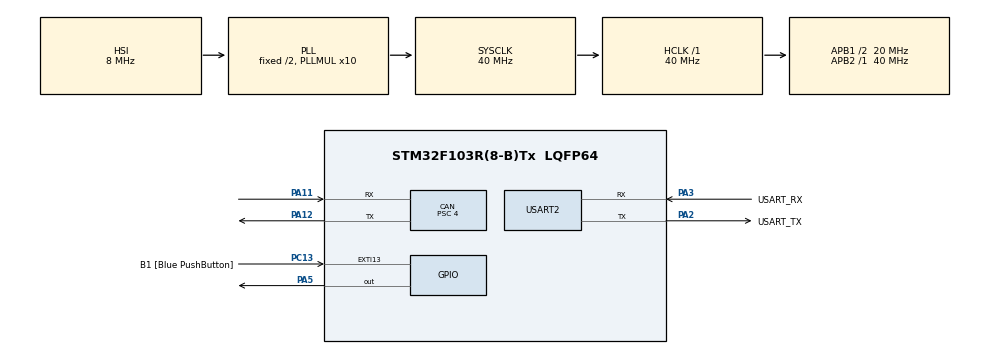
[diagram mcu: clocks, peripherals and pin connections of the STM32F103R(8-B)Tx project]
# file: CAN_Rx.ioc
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CAN.BS1=CAN_BS1_8TQ
CAN.CalculateBaudRate=500000
CAN.CalculateTimeBit=2000
CAN.CalculateTimeQuantum=200.0
CAN.NART=ENABLE
CAN.Prescaler=4
Mcu.Family=STM32F1
Mcu.Name=STM32F103R(8-B)Tx
Mcu.Package=LQFP64
NVIC.CAN1_RX1_IRQn=true\:0\:0\:false\:false\:true\:true\:true\:true
NVIC.EXTI15_10_IRQn=true\:0\:0\:false\:false\:true\:true\:true\:true
NVIC.PriorityGroup=NVIC_PRIORITYGROUP_4
NVIC.USB_HP_CAN1_TX_IRQn=true\:0\:0\:false\:false\:true\:true\:true\:true
NVIC.USB_LP_CAN1_RX0_IRQn=true\:0\:0\:false\:false\:true\:true\:true\:true
PA11.Mode=CAN_Activate
PA11.Signal=CAN_RX
PA12.Mode=CAN_Activate
PA12.Signal=CAN_TX
PA13.GPIO_Label=TMS
PA13.Mode=Serial_Wire
PA13.Signal=SYS_JTMS-SWDIO
PA14.GPIO_Label=TCK
PA14.Mode=Serial_Wire
PA14.Signal=SYS_JTCK-SWCLK
PA2.GPIO_Label=USART_TX
PA2.GPIO_Mode=GPIO_MODE_AF_PP
PA2.GPIO_PuPd=GPIO_NOPULL
PA2.GPIO_Speed=GPIO_SPEED_FREQ_LOW
PA2.Mode=Asynchronous
PA2.Signal=USART2_TX
PA3.GPIO_Label=USART_RX
PA3.GPIO_Mode=GPIO_MODE_AF_PP
PA3.GPIO_PuPd=GPIO_NOPULL
PA3.GPIO_Speed=GPIO_SPEED_FREQ_LOW
PA3.Mode=Asynchronous
PA3.Signal=USART2_RX
PA5.Signal=GPIO_Output
PB3.GPIO_Label=SWO
PB3.Signal=SYS_JTDO-TRACESWO
PC13-TAMPER-RTC.GPIO_Label=B1 [Blue PushButton]
PC13-TAMPER-RTC.GPIO_PuPd=GPIO_NOPULL
PC13-TAMPER-RTC.Signal=GPXTI13
PC14-OSC32_IN.Mode=LSE-External-Oscillator
PC14-OSC32_IN.Signal=RCC_OSC32_IN
PC15-OSC32_OUT.Mode=LSE-External-Oscillator
PC15-OSC32_OUT.Signal=RCC_OSC32_OUT
PD0-OSC_IN.Mode=HSE-External-Clock-Source
PD0-OSC_IN.Signal=RCC_OSC_IN
PD1-OSC_OUT.Mode=HSE-External-Clock-Source
PD1-OSC_OUT.Signal=RCC_OSC_OUT
ProjectManager.HeapSize=0x200
ProjectManager.StackSize=0x400
ProjectManager.TargetToolchain=STM32CubeIDE
RCC.AHBFreq_Value=40000000
RCC.APB1CLKDivider=RCC_HCLK_DIV2
RCC.APB1Freq_Value=20000000
RCC.APB1TimFreq_Value=40000000
RCC.APB2Freq_Value=40000000
RCC.APB2TimFreq_Value=40000000
RCC.HCLKFreq_Value=40000000
RCC.PLLMUL=RCC_PLL_MUL10
RCC.RTCClockSelection=RCC_RTCCLKSOURCE_LSE
RCC.SYSCLKFreq_VALUE=40000000
RCC.SYSCLKSource=RCC_SYSCLKSOURCE_PLLCLK
RCC.USBFreq_Value=40000000
USART2.VirtualMode=VM_ASYNC
board=NUCLEO-F103RB

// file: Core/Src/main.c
/* USER CODE BEGIN Header */
/**
  ******************************************************************************
  * @file           : main.c
  * @brief          : Main program body
  ******************************************************************************
  * @attention
  *
  * Copyright (c) 2024 STMicroelectronics.
  * All rights reserved.
  *
  * This software is licensed under terms that can be found in the LICENSE file
  * in the root directory of this software component.
  * If no LICENSE file comes with this software, it is provided AS-IS.
  *
  ******************************************************************************
  */
/* USER CODE END Header */
#include "main.h"
#include "can.h"
#include "usart.h"
#include "gpio.h"

/* USER CODE BEGIN Includes */
#include <stdio.h>
/* USER CODE END Includes */

/* USER CODE BEGIN PM */
#ifdef __GNUC__
  /* With GCC, small printf (option LD Linker->Libraries->Small printf
     set to 'Yes') calls __io_putchar() */
  #define PUTCHAR_PROTOTYPE int __io_putchar(int ch)
#else
  #define PUTCHARPROTOTYPE int fputc(int ch, FILE *f)
#endif /* __GNUC__ */
PUTCHAR_PROTOTYPE
{
  /* Place your implementation of fputc here */
  /* e.g. write a character to the EVAL_COM1 and Loop until the end of transmission */
  HAL_UART_Transmit(&huart2, (uint8_t *)&ch, 1, 0xFF);

  return ch;
}
/* USER CODE END PM */

/* USER CODE BEGIN PV */
CAN_FilterTypeDef  sFilterConfig;
CAN_RxHeaderTypeDef   RxHeader;
uint8_t               RxData[8];
/* USER CODE END PV */

void SystemClock_Config(void);

/* USER CODE BEGIN 0 */
void HAL_CAN_RxFifo0MsgPendingCallback(CAN_HandleTypeDef *CanHandle)
{
  printf("%s\r\n", __FUNCTION__);
  /* Get RX message */
  if (HAL_CAN_GetRxMessage(CanHandle, CAN_RX_FIFO0, &RxHeader, RxData) != HAL_OK)
  {
    /* Reception Error */
    Error_Handler();
  }

  printf("StdID: %04lx, IDE: %ld, DLC: %ld\r\n", RxHeader.StdId, RxHeader.IDE, RxHeader.DLC);
  printf("Data: %d %d %d %d %d %d %d %d\r\n", RxData[0], RxData[1], RxData[2], RxData[3], RxData[4], RxData[5], RxData[6], RxData[7]);

  /* Control LED based on RxData[0] */
  if (RxData[0] == 1)
  {
    HAL_GPIO_WritePin(GPIOA, GPIO_PIN_5, GPIO_PIN_SET); // Turn LED ON
  }
  else
  {
    HAL_GPIO_WritePin(GPIOA, GPIO_PIN_5, GPIO_PIN_RESET); // Turn LED OFF
  }
}

void HAL_CAN_ErrorCallback(CAN_HandleTypeDef *hcan)
{
  printf("%s\r\n", __FUNCTION__);
}

/* USER CODE END 0 */

int main(void)
{

  /* MCU Configuration--------------------------------------------------------*/

  /* Reset of all peripherals, Initializes the Flash interface and the Systick. */
  HAL_Init();

  /* Configure the system clock */
  SystemClock_Config();

  /* Initialize all configured peripherals */
  MX_GPIO_Init();
  MX_USART2_UART_Init();
  MX_CAN_Init();
  /* USER CODE BEGIN 2 */
  HAL_GPIO_WritePin(GPIOA, GPIO_PIN_5, GPIO_PIN_SET);

  printf("Start\r\n");

  sFilterConfig.FilterBank = 0;
  sFilterConfig.FilterMode = CAN_FILTERMODE_IDMASK;
  sFilterConfig.FilterScale = CAN_FILTERSCALE_32BIT;
  sFilterConfig.FilterIdHigh = 0x0000;
  sFilterConfig.FilterIdLow = 0x0000;
  sFilterConfig.FilterMaskIdHigh = 0x0000;
  sFilterConfig.FilterMaskIdLow = 0x0000;
  sFilterConfig.FilterFIFOAssignment = CAN_RX_FIFO0;
  sFilterConfig.FilterActivation = ENABLE;
  sFilterConfig.SlaveStartFilterBank = 14;

  if (HAL_CAN_ConfigFilter(&hcan, &sFilterConfig) != HAL_OK)
  {
    /* Filter configuration Error */
    Error_Handler();
  }

  if (HAL_CAN_Start(&hcan) != HAL_OK)
  {
    /* Start Error */
    Error_Handler();
  }

  if (HAL_CAN_ActivateNotification(&hcan, CAN_IT_RX_FIFO0_MSG_PENDING) != HAL_OK)
  {
    /* Notification Error */
    Error_Handler();
  }

  printf("Can Ready!!\r\n");

  /* USER CODE END 2 */

  /* Infinite loop */
  while (1)
  {

  }
}

void SystemClock_Config(void)
{
  RCC_OscInitTypeDef RCC_OscInitStruct = {0};
  RCC_ClkInitTypeDef RCC_ClkInitStruct = {0};

  /** Initializes the RCC Oscillators according to the specified parameters
  * in the RCC_OscInitTypeDef structure.
  */
  RCC_OscInitStruct.OscillatorType = RCC_OSCILLATORTYPE_HSI;
  RCC_OscInitStruct.HSIState = RCC_HSI_ON;
  RCC_OscInitStruct.HSICalibrationValue = RCC_HSICALIBRATION_DEFAULT;
  RCC_OscInitStruct.PLL.PLLState = RCC_PLL_ON;
  RCC_OscInitStruct.PLL.PLLSource = RCC_PLLSOURCE_HSI_DIV2;
  RCC_OscInitStruct.PLL.PLLMUL = RCC_PLL_MUL10;
  if (HAL_RCC_OscConfig(&RCC_OscInitStruct) != HAL_OK)
  {
    Error_Handler();
  }

  /** Initializes the CPU, AHB and APB buses clocks
  */
  RCC_ClkInitStruct.ClockType = RCC_CLOCKTYPE_HCLK|RCC_CLOCKTYPE_SYSCLK
                              |RCC_CLOCKTYPE_PCLK1|RCC_CLOCKTYPE_PCLK2;
  RCC_ClkInitStruct.SYSCLKSource = RCC_SYSCLKSOURCE_PLLCLK;
  RCC_ClkInitStruct.AHBCLKDivider = RCC_SYSCLK_DIV1;
  RCC_ClkInitStruct.APB1CLKDivider = RCC_HCLK_DIV2;
  RCC_ClkInitStruct.APB2CLKDivider = RCC_HCLK_DIV1;

  if (HAL_RCC_ClockConfig(&RCC_ClkInitStruct, FLASH_LATENCY_1) != HAL_OK)
  {
    Error_Handler();
  }
}

void Error_Handler(void)
{
  __disable_irq();
  while (1)
  {
  }
}
